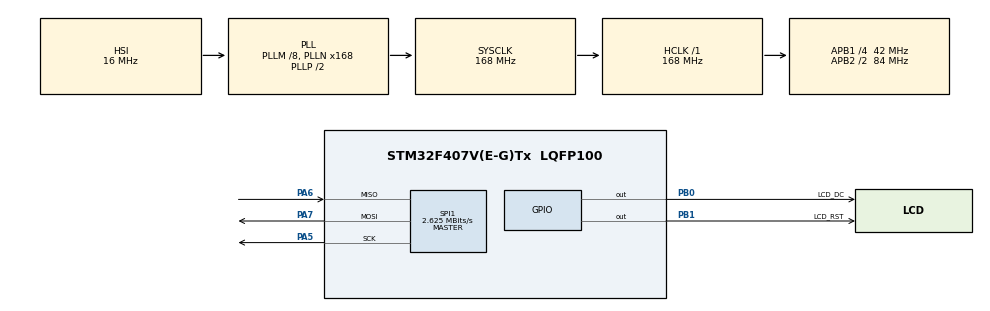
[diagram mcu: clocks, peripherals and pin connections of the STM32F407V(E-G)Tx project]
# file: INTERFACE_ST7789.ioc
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Dma.Request0=SPI1_TX
Dma.SPI1_TX.0.Direction=DMA_MEMORY_TO_PERIPH
Dma.SPI1_TX.0.FIFOMode=DMA_FIFOMODE_DISABLE
Dma.SPI1_TX.0.Instance=DMA2_Stream3
Dma.SPI1_TX.0.MemDataAlignment=DMA_MDATAALIGN_BYTE
Dma.SPI1_TX.0.MemInc=DMA_MINC_ENABLE
Dma.SPI1_TX.0.Mode=DMA_NORMAL
Dma.SPI1_TX.0.PeriphDataAlignment=DMA_PDATAALIGN_BYTE
Dma.SPI1_TX.0.PeriphInc=DMA_PINC_DISABLE
Dma.SPI1_TX.0.Priority=DMA_PRIORITY_HIGH
Mcu.Family=STM32F4
Mcu.Name=STM32F407V(E-G)Tx
Mcu.Package=LQFP100
NVIC.DMA2_Stream3_IRQn=true\:0\:0\:false\:false\:true\:false\:true\:true
NVIC.PriorityGroup=NVIC_PRIORITYGROUP_0
PA5.Mode=Full_Duplex_Master
PA5.Signal=SPI1_SCK
PA6.Mode=Full_Duplex_Master
PA6.Signal=SPI1_MISO
PA7.Mode=Full_Duplex_Master
PA7.Signal=SPI1_MOSI
PB0.GPIO_Label=LCD_DC
PB0.Signal=GPIO_Output
PB1.GPIO_Label=LCD_RST
PB1.Signal=GPIO_Output
ProjectManager.HeapSize=0x200
ProjectManager.StackSize=0x400
ProjectManager.TargetToolchain=STM32CubeIDE
RCC.48MHZClocksFreq_Value=48000000
RCC.AHBFreq_Value=168000000
RCC.APB1CLKDivider=RCC_HCLK_DIV4
RCC.APB1Freq_Value=42000000
RCC.APB1TimFreq_Value=84000000
RCC.APB2CLKDivider=RCC_HCLK_DIV2
RCC.APB2Freq_Value=84000000
RCC.APB2TimFreq_Value=168000000
RCC.CortexFreq_Value=168000000
RCC.HCLKFreq_Value=168000000
RCC.HSE_VALUE=8000000
RCC.HSI_VALUE=16000000
RCC.LSE_VALUE=32768
RCC.PLLM=8
RCC.PLLN=168
RCC.PLLQ=7
RCC.SYSCLKFreq_VALUE=168000000
RCC.SYSCLKSource=RCC_SYSCLKSOURCE_PLLCLK
RCC.VCOOutputFreq_Value=336000000
SPI1.BaudRatePrescaler=SPI_BAUDRATEPRESCALER_32
SPI1.CLKPhase=SPI_PHASE_2EDGE
SPI1.CLKPolarity=SPI_POLARITY_HIGH
SPI1.CalculateBaudRate=2.625 MBits/s
SPI1.Direction=SPI_DIRECTION_2LINES
SPI1.Mode=SPI_MODE_MASTER
SPI1.VirtualType=VM_MASTER
board=STM32F407G-DISC1

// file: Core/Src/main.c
/* USER CODE BEGIN Header */
/**
  ******************************************************************************
  * @file           : main.c
  * @brief          : Main program body
  ******************************************************************************
  * @attention
  *
  * Copyright (c) 2026 STMicroelectronics.
  * All rights reserved.
  *
  * This software is licensed under terms that can be found in the LICENSE file
  * in the root directory of this software component.
  * If no LICENSE file comes with this software, it is provided AS-IS.
  *
  ******************************************************************************
  */
/* USER CODE END Header */
#include "main.h"

/* USER CODE BEGIN PD */
#define LCD_DC_PORT   GPIOB
#define LCD_DC_PIN    LCD_DC_Pin

#define LCD_RST_PORT  GPIOB
#define LCD_RST_PIN   LCD_RST_Pin
/* USER CODE END PD */

SPI_HandleTypeDef hspi1;
DMA_HandleTypeDef hdma_spi1_tx;

/* USER CODE BEGIN PV */

// Simple 5x7 Font Lookup Table for ASCII characters (Characters 32 to 90)
static const uint8_t font5x7[][5] = {
    {0x00, 0x00, 0x00, 0x00, 0x00}, // 32: Space
    {0x00, 0x00, 0x5F, 0x00, 0x00}, // 33: !
    {0x00, 0x07, 0x00, 0x07, 0x00}, // 34: "
    {0x14, 0x7F, 0x14, 0x7F, 0x14}, // 35: #
    {0x24, 0x2A, 0x7F, 0x2A, 0x12}, // 36: $
    {0x23, 0x13, 0x08, 0x64, 0x62}, // 37: %
    {0x36, 0x49, 0x55, 0x22, 0x50}, // 38: &
    {0x00, 0x05, 0x03, 0x00, 0x00}, // 39: '
    {0x00, 0x1C, 0x22, 0x41, 0x00}, // 40: (
    {0x00, 0x41, 0x22, 0x1C, 0x00}, // 41: )
    {0x14, 0x08, 0x3E, 0x08, 0x14}, // 42: *
    {0x08, 0x08, 0x3E, 0x08, 0x08}, // 43: +
    {0x00, 0x50, 0x30, 0x00, 0x00}, // 44: ,
    {0x08, 0x08, 0x08, 0x08, 0x08}, // 45: -
    {0x00, 0x60, 0x60, 0x00, 0x00}, // 46: .
    {0x20, 0x10, 0x08, 0x04, 0x02}, // 47: /
    {0x3E, 0x51, 0x49, 0x45, 0x3E}, // 48: 0
    {0x00, 0x42, 0x7F, 0x40, 0x00}, // 49: 1
    {0x42, 0x61, 0x51, 0x49, 0x46}, // 50: 2
    {0x21, 0x41, 0x45, 0x4B, 0x31}, // 51: 3
    {0x18, 0x14, 0x12, 0x7F, 0x10}, // 52: 4
    {0x27, 0x45, 0x45, 0x45, 0x39}, // 53: 5
    {0x3C, 0x4A, 0x49, 0x49, 0x30}, // 54: 6
    {0x01, 0x71, 0x09, 0x05, 0x03}, // 55: 7
    {0x36, 0x49, 0x49, 0x49, 0x36}, // 56: 8
    {0x06, 0x49, 0x49, 0x29, 0x1E}, // 57: 9
    {0x00, 0x36, 0x36, 0x00, 0x00}, // 58: :
    {0x00, 0x56, 0x36, 0x00, 0x00}, // 59: ;
    {0x08, 0x14, 0x22, 0x41, 0x00}, // 60: <
    {0x14, 0x14, 0x14, 0x14, 0x14}, // 61: =
    {0x00, 0x41, 0x22, 0x14, 0x08}, // 62: >
    {0x02, 0x01, 0x51, 0x09, 0x06}, // 63: ?
    {0x32, 0x49, 0x79, 0x41, 0x3E}, // 64: @
    {0x7C, 0x12, 0x11, 0x12, 0x7C}, // 65: A
    {0x7F, 0x49, 0x49, 0x49, 0x36}, // 66: B
    {0x3E, 0x41, 0x41, 0x41, 0x22}, // C
    {0x7F, 0x41, 0x41, 0x22, 0x1C}, // D
    {0x7F, 0x49, 0x49, 0x49, 0x41}, // E
    {0x7F, 0x09, 0x09, 0x09, 0x01}, // F
    {0x3E, 0x41, 0x49, 0x49, 0x7A}, // G
    {0x7F, 0x08, 0x08, 0x08, 0x7F}, // H
    {0x00, 0x41, 0x7F, 0x41, 0x00}, // I
    {0x20, 0x40, 0x41, 0x3F, 0x01}, // J
    {0x7F, 0x08, 0x14, 0x22, 0x41}, // K
    {0x7F, 0x40, 0x40, 0x40, 0x40}, // L
    {0x7F, 0x02, 0x0C, 0x02, 0x7F}, // M
    {0x7F, 0x04, 0x08, 0x10, 0x7F}, // N
    {0x3E, 0x41, 0x41, 0x41, 0x3E}, // O
    {0x7F, 0x09, 0x09, 0x09, 0x06}, // P
    {0x3E, 0x41, 0x51, 0x21, 0x5E}, // Q
    {0x7F, 0x09, 0x09, 0x19, 0x66}, // R
    {0x26, 0x49, 0x49, 0x49, 0x32}, // S
    {0x01, 0x01, 0x7F, 0x01, 0x01}, // T
    {0x3F, 0x40, 0x40, 0x40, 0x3F}, // U
    {0x1F, 0x20, 0x40, 0x20, 0x1F}, // V
    {0x3F, 0x40, 0x38, 0x40, 0x3F}, // W
    {0x63, 0x14, 0x08, 0x14, 0x63}, // X
    {0x07, 0x08, 0x70, 0x08, 0x07}, // Y
    {0x61, 0x51, 0x49, 0x45, 0x43}  // Z
};
/* USER CODE END PV */

void SystemClock_Config(void);
static void MX_GPIO_Init(void);
static void MX_DMA_Init(void);
static void MX_SPI1_Init(void);
void ST7789_SetAddressWindow(uint16_t x0, uint16_t y0, uint16_t x1, uint16_t y1);

/* USER CODE BEGIN 0 */

// Send a Command to the ST7789
void ST7789_WriteCommand(uint8_t cmd) {
    HAL_GPIO_WritePin(LCD_DC_PORT, LCD_DC_PIN, GPIO_PIN_RESET); // DC = 0 for Command
    HAL_SPI_Transmit(&hspi1, &cmd, 1, HAL_MAX_DELAY);
}

// Send Data/Pixel values to the ST7789
void ST7789_WriteData(uint8_t *buff, size_t buff_size) {
    HAL_GPIO_WritePin(LCD_DC_PORT, LCD_DC_PIN, GPIO_PIN_SET);   // DC = 1 for Data
    HAL_SPI_Transmit(&hspi1, buff, buff_size, HAL_MAX_DELAY);
}

void ST7789_Reset(void) {
    HAL_GPIO_WritePin(LCD_RST_PORT, LCD_RST_PIN, GPIO_PIN_RESET); // Hold low
    HAL_Delay(100);
    HAL_GPIO_WritePin(LCD_RST_PORT, LCD_RST_PIN, GPIO_PIN_SET);   // Release
    HAL_Delay(100);
}

// Send a single byte of data easily
void ST7789_WriteByte(uint8_t data) {
    ST7789_WriteData(&data, 1);
}

// Set the active drawing window on the 240x240 screen
void ST7789_SetAddressWindow(uint16_t x0, uint16_t y0, uint16_t x1, uint16_t y1) {
    uint8_t data[4];

    ST7789_WriteCommand(0x2A); // Column Address Set
    data[0] = (x0 >> 8) & 0xFF;
    data[1] = x0 & 0xFF;
    data[2] = (x1 >> 8) & 0xFF;
    data[3] = x1 & 0xFF;
    ST7789_WriteData(data, 4);

    ST7789_WriteCommand(0x2B); // Row Address Set
    data[0] = (y0 >> 8) & 0xFF;
    data[1] = y0 & 0xFF;
    data[2] = (y1 >> 8) & 0xFF;
    data[3] = y1 & 0xFF;
    ST7789_WriteData(data, 4);

    ST7789_WriteCommand(0x2C); // Memory Write
}

// Initialize the ST7789 Display
void ST7789_Init(void) {
    ST7789_Reset();

    ST7789_WriteCommand(0x01); // Software Reset
    HAL_Delay(150);

    ST7789_WriteCommand(0x11); // Sleep Out
    HAL_Delay(500);

    ST7789_WriteCommand(0x3A); // Pixel Format Set
    ST7789_WriteByte(0x55);    // 16-bit/pixel (RGB565)

    ST7789_WriteCommand(0x36); // Memory Data Access Control
    ST7789_WriteByte(0x08);    // BGR color order

    ST7789_WriteCommand(0x20); // Display Inversion Off
    ST7789_WriteCommand(0x13); // Normal Display Mode On
    HAL_Delay(10);

    ST7789_WriteCommand(0x29); // Display ON
    HAL_Delay(500);
}

// Fill the entire 240x240 screen with a single 16-bit color using DMA
void ST7789_FillScreen(uint16_t color) {
    ST7789_SetAddressWindow(0, 0, 239, 239);

    uint8_t line_buffer[480];
    uint8_t high_byte = color >> 8;
    uint8_t low_byte = color & 0xFF;

    for (int i = 0; i < 240; i++) {
        line_buffer[i * 2]     = high_byte;
        line_buffer[i * 2 + 1] = low_byte;
    }

    HAL_GPIO_WritePin(LCD_DC_PORT, LCD_DC_PIN, GPIO_PIN_SET); // DC = Data

    for (int row = 0; row < 240; row++) {
        HAL_SPI_Transmit_DMA(&hspi1, line_buffer, 480);
        while (hspi1.State != HAL_SPI_STATE_READY);
    }
}

// Draw a single character
void ST7789_DrawChar(uint16_t x, uint16_t y, char ch, uint16_t color, uint16_t bgcolor, uint8_t size) {
    if ((x >= 240) || (y >= 240)) return;

    if (ch < 32 || ch > 90) ch = 32; // Fallback to space if out of table bounds
    uint32_t char_index = ch - 32;

    for (uint8_t i = 0; i < 5; i++) {
        uint8_t line = font5x7[char_index][i];
        for (uint8_t j = 0; j < 8; j++) {
            if (line & (1 << j)) {
                ST7789_SetAddressWindow(x + (i * size), y + (j * size), x + (i * size) + size - 1, y + (j * size) + size - 1);
                uint8_t data[2] = {color >> 8, color & 0xFF};
                HAL_GPIO_WritePin(LCD_DC_PORT, LCD_DC_PIN, GPIO_PIN_SET);
                for(uint8_t sx = 0; sx < size; sx++) {
                    for(uint8_t sy = 0; sy < size; sy++) {
                        HAL_SPI_Transmit(&hspi1, data, 2, HAL_MAX_DELAY);
                    }
                }
            }
        }
    }
}

// Draw a full text string
void ST7789_WriteString(uint16_t x, uint16_t y, const char *str, uint16_t color, uint16_t bgcolor, uint8_t size) {
    while (*str) {
        ST7789_DrawChar(x, y, *str, color, bgcolor, size);
        x += 6 * size;
        str++;
    }
}

/* USER CODE END 0 */

int main(void)
{

  /* MCU Configuration--------------------------------------------------------*/

  /* Reset of all peripherals, Initializes the Flash interface and the Systick. */
  HAL_Init();

  /* Configure the system clock */
  SystemClock_Config();

  /* Initialize all configured peripherals */
  MX_GPIO_Init();
  MX_DMA_Init();
  MX_SPI1_Init();

  /* USER CODE BEGIN 2 */
    ST7789_Init();                 // Wake up and configure the display
    ST7789_FillScreen(0x0000);     // Clear screen to Black background once

    // Top Line: "HELLO" in Red, Size 4
    ST7789_WriteString(70, 74, "HELLO", 0xF900, 0x0000, 4);

    // Bottom Line: "STM32" in Green, Size 4
    ST7789_WriteString(70, 122, "KONTU", 0x07E0, 0x0000, 4);
    /* USER CODE END 2 */

  /* Infinite loop */
  while (1)
  {

  }
}

void SystemClock_Config(void)
{
  RCC_OscInitTypeDef RCC_OscInitStruct = {0};
  RCC_ClkInitTypeDef RCC_ClkInitStruct = {0};

  __HAL_RCC_PWR_CLK_ENABLE();
  __HAL_PWR_VOLTAGESCALING_CONFIG(PWR_REGULATOR_VOLTAGE_SCALE1);

  RCC_OscInitStruct.OscillatorType = RCC_OSCILLATORTYPE_HSI;
  RCC_OscInitStruct.HSIState = RCC_HSI_ON;
  RCC_OscInitStruct.HSICalibrationValue = RCC_HSICALIBRATION_DEFAULT;
  RCC_OscInitStruct.PLL.PLLState = RCC_PLL_ON;
  RCC_OscInitStruct.PLL.PLLSource = RCC_PLLSOURCE_HSI;
  RCC_OscInitStruct.PLL.PLLM = 8;
  RCC_OscInitStruct.PLL.PLLN = 168;
  RCC_OscInitStruct.PLL.PLLP = RCC_PLLP_DIV2;
  RCC_OscInitStruct.PLL.PLLQ = 7;
  if (HAL_RCC_OscConfig(&RCC_OscInitStruct) != HAL_OK)
  {
    Error_Handler();
  }

  RCC_ClkInitStruct.ClockType = RCC_CLOCKTYPE_HCLK|RCC_CLOCKTYPE_SYSCLK
                              |RCC_CLOCKTYPE_PCLK1|RCC_CLOCKTYPE_PCLK2;
  RCC_ClkInitStruct.SYSCLKSource = RCC_SYSCLKSOURCE_PLLCLK;
  RCC_ClkInitStruct.AHBCLKDivider = RCC_SYSCLK_DIV1;
  RCC_ClkInitStruct.APB1CLKDivider = RCC_HCLK_DIV4;
  RCC_ClkInitStruct.APB2CLKDivider = RCC_HCLK_DIV2;

  if (HAL_RCC_ClockConfig(&RCC_ClkInitStruct, FLASH_LATENCY_5) != HAL_OK)
  {
    Error_Handler();
  }
}

static void MX_SPI1_Init(void)
{
  hspi1.Instance = SPI1;
  hspi1.Init.Mode = SPI_MODE_MASTER;
  hspi1.Init.Direction = SPI_DIRECTION_2LINES;
  hspi1.Init.DataSize = SPI_DATASIZE_8BIT;
  hspi1.Init.CLKPolarity = SPI_POLARITY_HIGH;
  hspi1.Init.CLKPhase = SPI_PHASE_2EDGE;
  hspi1.Init.NSS = SPI_NSS_SOFT;
  hspi1.Init.BaudRatePrescaler = SPI_BAUDRATEPRESCALER_32;
  hspi1.Init.FirstBit = SPI_FIRSTBIT_MSB;
  hspi1.Init.TIMode = SPI_TIMODE_DISABLE;
  hspi1.Init.CRCCalculation = SPI_CRCCALCULATION_DISABLE;
  hspi1.Init.CRCPolynomial = 10;
  if (HAL_SPI_Init(&hspi1) != HAL_OK)
  {
    Error_Handler();
  }
}

static void MX_DMA_Init(void)
{
  __HAL_RCC_DMA2_CLK_ENABLE();

  HAL_NVIC_SetPriority(DMA2_Stream3_IRQn, 0, 0);
  HAL_NVIC_EnableIRQ(DMA2_Stream3_IRQn);
}

static void MX_GPIO_Init(void)
{
  GPIO_InitTypeDef GPIO_InitStruct = {0};

  __HAL_RCC_GPIOA_CLK_ENABLE();
  __HAL_RCC_GPIOB_CLK_ENABLE();

  HAL_GPIO_WritePin(GPIOB, LCD_DC_Pin|LCD_RST_Pin, GPIO_PIN_RESET);

  GPIO_InitStruct.Pin = LCD_DC_Pin|LCD_RST_Pin;
  GPIO_InitStruct.Mode = GPIO_MODE_OUTPUT_PP;
  GPIO_InitStruct.Pull = GPIO_NOPULL;
  GPIO_InitStruct.Speed = GPIO_SPEED_FREQ_LOW;
  HAL_GPIO_Init(GPIOB, &GPIO_InitStruct);
}

void Error_Handler(void)
{
  __disable_irq();
  while (1)
  {
  }
}
